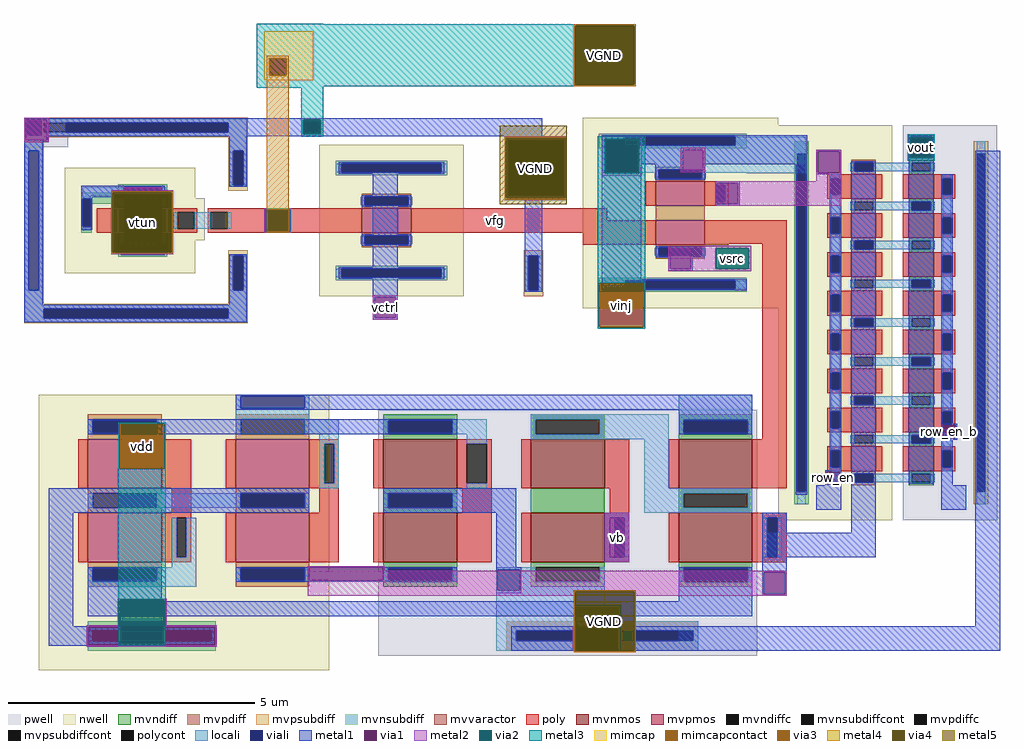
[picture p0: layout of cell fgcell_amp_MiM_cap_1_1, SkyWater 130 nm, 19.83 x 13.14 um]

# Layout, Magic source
magic
tech sky130A
magscale 1 2
<< poly >>
rect 2388 -2420 2488 -2320
<< polycont >>
rect 1524 -2400 1586 -2342
<< locali >>
rect 1502 -2331 1610 -2322
rect 1502 -2409 1516 -2331
rect 1594 -2409 1610 -2331
rect 1502 -2416 1610 -2409
<< viali >>
rect 1516 -2342 1594 -2331
rect 1516 -2400 1524 -2342
rect 1524 -2400 1586 -2342
rect 1586 -2400 1594 -2342
rect 1516 -2409 1594 -2400
<< metal1 >>
rect 2478 -2038 2730 -2028
rect 2478 -2278 2484 -2038
rect 2724 -2278 2730 -2038
rect 2478 -2284 2730 -2278
rect 1500 -2325 1610 -2320
rect 1500 -2415 1510 -2325
rect 1600 -2415 1610 -2325
rect 1500 -2420 1610 -2415
rect 4258 -3202 4316 -3196
rect 4310 -3254 4316 -3202
rect 4258 -3260 4316 -3254
rect 3780 -3390 3838 -3384
rect 3780 -3442 3786 -3390
rect 3780 -3446 3838 -3442
rect 780 -4020 1308 -4014
rect 780 -4096 786 -4020
rect 1302 -4096 1308 -4020
rect 780 -4102 1308 -4096
<< via1 >>
rect 1660 -2020 1730 -1960
rect 2484 -2278 2724 -2038
rect 2884 -2178 3024 -2038
rect 4126 -2118 4214 -2030
rect 1510 -2331 1600 -2325
rect 1510 -2409 1516 -2331
rect 1516 -2409 1594 -2331
rect 1594 -2409 1600 -2331
rect 1510 -2415 1600 -2409
rect 1950 -2766 2034 -2682
rect 4258 -3254 4310 -3202
rect 3786 -3442 3838 -3390
rect 786 -4096 1302 -4020
rect 2764 -4112 2944 -4024
<< metal2 >>
rect 1650 -1960 1740 -1954
rect 1650 -2020 1659 -1960
rect 1730 -2020 1740 -1960
rect 1650 -2028 1740 -2020
rect 2478 -2038 2730 -2028
rect 878 -2258 1130 -2248
rect 878 -2498 884 -2258
rect 1124 -2498 1130 -2258
rect 2478 -2278 2484 -2038
rect 2724 -2278 2730 -2038
rect 2874 -2038 3034 -2028
rect 2874 -2178 2884 -2038
rect 3024 -2178 3034 -2038
rect 4116 -2030 4224 -2020
rect 4116 -2118 4126 -2030
rect 4214 -2118 4224 -2030
rect 4116 -2128 4224 -2118
rect 2874 -2188 3034 -2178
rect 2478 -2288 2730 -2278
rect 1500 -2325 1610 -2320
rect 1500 -2415 1510 -2325
rect 1600 -2415 1610 -2325
rect 1500 -2420 1610 -2415
rect 878 -2508 1130 -2498
rect 3142 -2482 3480 -2472
rect 3142 -2566 3334 -2482
rect 3470 -2566 3480 -2482
rect 3142 -2576 3480 -2566
rect 2884 -3758 2984 -3558
rect 904 -3912 1104 -3906
rect 904 -4014 914 -3912
rect 780 -4020 914 -4014
rect 1094 -4014 1104 -3912
rect 1094 -4020 1308 -4014
rect 780 -4096 786 -4020
rect 1302 -4096 1308 -4020
rect 780 -4102 1308 -4096
rect 2754 -4024 2954 -4018
rect 2754 -4112 2764 -4024
rect 2944 -4112 2954 -4024
rect 2754 -4118 2954 -4112
<< via2 >>
rect 1659 -2020 1660 -1960
rect 1660 -2020 1730 -1960
rect 884 -2498 1124 -2258
rect 2484 -2278 2724 -2038
rect 2884 -2178 3024 -2038
rect 4126 -2118 4214 -2030
rect 1515 -2410 1595 -2330
rect 3334 -2566 3470 -2482
rect 914 -4020 1094 -3912
rect 914 -4092 1094 -4020
rect 2764 -4112 2944 -4024
<< metal3 >>
rect 1470 -1572 1740 -1570
rect 1470 -1578 3010 -1572
rect 1470 -1818 2764 -1578
rect 3004 -1818 3010 -1578
rect 1470 -1824 3010 -1818
rect 1470 -1830 1740 -1824
rect 1650 -1960 1740 -1830
rect 1650 -2020 1659 -1960
rect 1730 -2020 1740 -1960
rect 1650 -2030 1740 -2020
rect 2478 -2038 2730 -2032
rect 878 -2258 1130 -2252
rect 878 -2498 884 -2258
rect 1124 -2498 1130 -2258
rect 2478 -2278 2484 -2038
rect 2724 -2278 2730 -2038
rect 2478 -2284 2730 -2278
rect 2856 -2038 3048 -2028
rect 2856 -2178 2884 -2038
rect 3024 -2178 3048 -2038
rect 4116 -2030 4224 -2020
rect 4116 -2118 4126 -2030
rect 4214 -2118 4224 -2030
rect 4116 -2128 4224 -2118
rect 1510 -2326 1600 -2320
rect 1505 -2414 1511 -2326
rect 1599 -2414 1605 -2326
rect 1510 -2420 1600 -2414
rect 878 -2504 1130 -2498
rect 2856 -2624 3048 -2178
rect 2856 -2804 2862 -2624
rect 3042 -2804 3048 -2624
rect 2856 -2810 3048 -2804
rect 908 -3198 1100 -3192
rect 908 -3378 914 -3198
rect 1094 -3378 1100 -3198
rect 908 -3912 1100 -3378
rect 908 -4092 914 -3912
rect 1094 -4092 1100 -3912
rect 908 -4098 1100 -4092
rect 2758 -3938 2950 -3932
rect 2758 -4118 2764 -3938
rect 2944 -4118 2950 -3938
rect 2758 -4124 2950 -4118
<< via3 >>
rect 2764 -1818 3004 -1578
rect 884 -2498 1124 -2258
rect 2484 -2278 2724 -2038
rect 1511 -2330 1599 -2326
rect 1511 -2410 1515 -2330
rect 1515 -2410 1595 -2330
rect 1595 -2410 1599 -2330
rect 1511 -2414 1599 -2410
rect 2862 -2804 3042 -2624
rect 914 -3378 1094 -3198
rect 2764 -4024 2944 -3938
rect 2764 -4112 2944 -4024
rect 2764 -4118 2944 -4112
<< mimcap >>
rect 1500 -1710 1700 -1600
rect 1500 -1780 1520 -1710
rect 1590 -1780 1700 -1710
rect 1500 -1800 1700 -1780
<< mimcapcontact >>
rect 1520 -1780 1590 -1710
<< metal4 >>
rect 2758 -1578 3010 -1572
rect 1510 -1710 1600 -1700
rect 1510 -1780 1520 -1710
rect 1590 -1780 1600 -1710
rect 878 -2258 1130 -2252
rect 878 -2498 884 -2258
rect 1124 -2498 1130 -2258
rect 1510 -2326 1600 -1780
rect 2758 -1818 2764 -1578
rect 3004 -1818 3010 -1578
rect 2758 -1824 3010 -1818
rect 2478 -2038 2730 -2032
rect 2478 -2278 2484 -2038
rect 2724 -2278 2730 -2038
rect 2478 -2284 2730 -2278
rect 1510 -2414 1511 -2326
rect 1599 -2414 1600 -2326
rect 1510 -2420 1600 -2414
rect 878 -2504 1130 -2498
rect 2758 -3878 3010 -3872
rect 2758 -4118 2764 -3878
rect 3004 -4118 3010 -3878
rect 2758 -4124 3010 -4118
<< via4 >>
rect 884 -2498 1124 -2258
rect 2764 -1818 3004 -1578
rect 2484 -2278 2724 -2038
rect 2764 -3938 3004 -3878
rect 2764 -4118 2944 -3938
rect 2944 -4118 3004 -3938
<< metal5 >>
rect 2458 -2038 2730 -1984
rect 2458 -2278 2484 -2038
rect 2724 -2278 2730 -2038
rect 2458 -2304 2730 -2278
use fgcell_amp  x1
transform 1 0 384 0 1 3012
box 140 -7210 4106 -4964
<< labels >>
flabel poly 2388 -2420 2488 -2320 0 FreeSans 320 0 0 0 vfg
port 1 nsew analog bidirectional
flabel via1 1950 -2766 2034 -2682 0 FreeSans 320 0 0 0 vctrl
port 2 nsew analog input
flabel via3 914 -3378 1094 -3198 0 FreeSans 320 0 0 0 vdd
port 3 nsew power input
flabel via3 2862 -2804 3042 -2624 0 FreeSans 320 0 0 0 vinj
port 3 nsew power input
flabel via1 4258 -3254 4310 -3202 0 FreeSans 160 0 0 0 row_en_b
port 4 nsew signal input
flabel via2 3334 -2566 3470 -2482 0 FreeSans 320 0 0 0 vsrc
port 5 nsew power input
flabel via4 884 -2498 1124 -2258 0 FreeSans 480 0 0 0 vtun
port 6 nsew power input
flabel via4 2764 -4118 3004 -3878 0 FreeSans 320 0 0 0 VGND
port 7 nsew ground input
flabel via4 2484 -2278 2724 -2038 0 FreeSans 320 0 0 0 VGND
port 7 nsew ground input
flabel via4 2764 -1818 3004 -1578 0 FreeSans 320 0 0 0 VGND
port 7 nsew ground input
flabel metal3 4116 -2128 4224 -2020 0 FreeSans 320 0 0 0 vout
port 8 nsew analog output
flabel via1 3786 -3442 3838 -3390 0 FreeSans 160 0 0 0 row_en
port 9 nsew signal input
flabel metal2 2884 -3758 2984 -3558 0 FreeSans 480 90 0 0 vb
port 10 nsew analog input
<< end >>

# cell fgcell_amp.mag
magic
tech sky130A
magscale 1 2
<< poly >>
rect 2004 -5432 2104 -5332
rect 2907 -5477 3240 -5380
rect 3140 -6470 3240 -5477
<< locali >>
rect 3076 -5154 3316 -5042
rect 3076 -5190 3282 -5154
<< metal1 >>
rect 3076 -5154 3322 -5036
rect 3276 -5190 3322 -5154
rect 3360 -5100 3460 -5094
rect 3360 -5188 3366 -5100
rect 3454 -5188 3460 -5100
rect 3736 -5136 3836 -5036
rect 3360 -5194 3460 -5188
rect 240 -6570 340 -6470
rect 3502 -6650 3602 -6458
rect 3868 -6558 3968 -6458
rect 3160 -6750 3602 -6650
rect 3140 -6812 3240 -6770
rect 3140 -6900 3146 -6812
rect 3234 -6900 3240 -6812
rect 3140 -6906 3240 -6900
rect 4006 -7030 4106 -5098
rect 2800 -7130 4106 -7030
<< via1 >>
rect 3366 -5188 3454 -5100
rect 3146 -6900 3234 -6812
<< metal2 >>
rect 140 -5062 240 -4964
rect 2808 -5186 2908 -5086
rect 3360 -5100 3460 -5094
rect 3360 -5188 3366 -5100
rect 3454 -5188 3460 -5100
rect 3360 -5222 3460 -5188
rect 548 -5518 698 -5246
rect 2948 -5322 3460 -5222
rect 2758 -5586 2858 -5486
rect 1558 -5786 1658 -5686
rect 2500 -6770 2600 -6570
rect 1294 -6812 3240 -6806
rect 1294 -6900 3146 -6812
rect 3234 -6900 3240 -6812
rect 1294 -6906 3240 -6900
use tg5v0  tg5v0_0
transform 0 -1 4094 1 0 -6628
box 28 0 1634 890
use fgcell  x1
transform 1 0 2010 0 1 -5490
box -1870 -310 1194 526
use diffamp_nmos  x2
transform 0 -1 3100 -1 0 -6070
box 20 -140 1140 2900
<< labels >>
flabel poly 2004 -5432 2104 -5332 0 FreeSans 320 0 0 0 vfg
port 1 nsew analog bidirectional
flabel metal2 1558 -5786 1658 -5686 0 FreeSans 480 0 0 0 vctrl
port 2 nsew analog input
flabel metal2 548 -5518 698 -5246 0 FreeSans 480 0 0 0 vtun
port 6 nsew power input
flabel metal2 140 -5062 240 -4964 0 FreeSans 480 0 0 0 VGND
port 7 nsew ground input
flabel metal2 2808 -5186 2908 -5086 0 FreeSans 480 0 0 0 vinj
port 3 nsew power input
flabel metal2 2948 -5322 3048 -5222 0 FreeSans 480 0 0 0 row_en_6v0_b
port 4 nsew signal input
flabel metal2 2758 -5586 2858 -5486 0 FreeSans 480 0 0 0 vsrc
port 5 nsew power input
flabel metal2 2500 -6770 2600 -6570 0 FreeSans 480 90 0 0 vb
port 10 nsew analog input
flabel metal1 3868 -6558 3968 -6458 0 FreeSans 480 0 0 0 row_en_6v0
port 9 nsew signal input
flabel metal1 3736 -5136 3836 -5036 0 FreeSans 480 0 0 0 vout
port 8 nsew analog output
flabel metal1 2800 -7130 2900 -7030 0 FreeSans 480 0 0 0 VGND
port 7 nsew ground input
flabel metal1 240 -6570 340 -6470 0 FreeSans 480 0 0 0 vinj
port 3 nsew power input
<< end >>

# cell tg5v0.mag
magic
tech sky130A
<< nwell >>
rect 14 213 817 445
<< pwell >>
rect 14 0 817 192
<< mvnmos >>
rect 114 129 164 179
rect 193 129 243 179
rect 272 129 322 179
rect 351 129 401 179
rect 430 129 480 179
rect 509 129 559 179
rect 588 129 638 179
rect 667 129 717 179
<< mvpmos >>
rect 114 246 164 296
rect 193 246 243 296
rect 272 246 322 296
rect 351 246 401 296
rect 430 246 480 296
rect 509 246 559 296
rect 588 246 638 296
rect 667 246 717 296
<< mvndiff >>
rect 85 173 114 179
rect 85 135 91 173
rect 108 135 114 173
rect 85 129 114 135
rect 164 173 193 179
rect 164 135 170 173
rect 187 135 193 173
rect 164 129 193 135
rect 243 173 272 179
rect 243 135 249 173
rect 266 135 272 173
rect 243 129 272 135
rect 322 173 351 179
rect 322 135 328 173
rect 345 135 351 173
rect 322 129 351 135
rect 401 173 430 179
rect 401 135 407 173
rect 424 135 430 173
rect 401 129 430 135
rect 480 173 509 179
rect 480 135 486 173
rect 503 135 509 173
rect 480 129 509 135
rect 559 173 588 179
rect 559 135 565 173
rect 582 135 588 173
rect 559 129 588 135
rect 638 173 667 179
rect 638 135 644 173
rect 661 135 667 173
rect 638 129 667 135
rect 717 173 746 179
rect 717 135 723 173
rect 740 135 746 173
rect 717 129 746 135
<< mvpdiff >>
rect 85 290 114 296
rect 85 252 91 290
rect 108 252 114 290
rect 85 246 114 252
rect 164 290 193 296
rect 164 252 170 290
rect 187 252 193 290
rect 164 246 193 252
rect 243 290 272 296
rect 243 252 249 290
rect 266 252 272 290
rect 243 246 272 252
rect 322 290 351 296
rect 322 252 328 290
rect 345 252 351 290
rect 322 246 351 252
rect 401 290 430 296
rect 401 252 407 290
rect 424 252 430 290
rect 401 246 430 252
rect 480 290 509 296
rect 480 252 486 290
rect 503 252 509 290
rect 480 246 509 252
rect 559 290 588 296
rect 559 252 565 290
rect 582 252 588 290
rect 559 246 588 252
rect 638 290 667 296
rect 638 252 644 290
rect 661 252 667 290
rect 638 246 667 252
rect 717 290 746 296
rect 717 252 723 290
rect 740 252 746 290
rect 717 246 746 252
<< mvndiffc >>
rect 91 135 108 173
rect 170 135 187 173
rect 249 135 266 173
rect 328 135 345 173
rect 407 135 424 173
rect 486 135 503 173
rect 565 135 582 173
rect 644 135 661 173
rect 723 135 740 173
<< mvpdiffc >>
rect 91 252 108 290
rect 170 252 187 290
rect 249 252 266 290
rect 328 252 345 290
rect 407 252 424 290
rect 486 252 503 290
rect 565 252 582 290
rect 644 252 661 290
rect 723 252 740 290
<< mvpsubdiff >>
rect 47 41 784 47
rect 47 24 72 41
rect 759 24 784 41
rect 47 18 784 24
<< mvnsubdiff >>
rect 47 406 784 412
rect 47 389 72 406
rect 759 389 784 406
rect 47 383 784 389
<< mvpsubdiffcont >>
rect 72 24 759 41
<< mvnsubdiffcont >>
rect 72 389 759 406
<< poly >>
rect 114 337 164 345
rect 114 320 122 337
rect 156 320 164 337
rect 114 296 164 320
rect 193 337 243 345
rect 193 320 201 337
rect 235 320 243 337
rect 193 296 243 320
rect 272 337 322 345
rect 272 320 280 337
rect 314 320 322 337
rect 272 296 322 320
rect 351 337 401 345
rect 351 320 359 337
rect 393 320 401 337
rect 351 296 401 320
rect 430 337 480 345
rect 430 320 438 337
rect 472 320 480 337
rect 430 296 480 320
rect 509 337 559 345
rect 509 320 517 337
rect 551 320 559 337
rect 509 296 559 320
rect 588 337 638 345
rect 588 320 596 337
rect 630 320 638 337
rect 588 296 638 320
rect 667 337 717 345
rect 667 320 675 337
rect 709 320 717 337
rect 667 296 717 320
rect 114 233 164 246
rect 193 233 243 246
rect 272 233 322 246
rect 351 233 401 246
rect 430 233 480 246
rect 509 233 559 246
rect 588 233 638 246
rect 667 233 717 246
rect 114 179 164 192
rect 193 179 243 192
rect 272 179 322 192
rect 351 179 401 192
rect 430 179 480 192
rect 509 179 559 192
rect 588 179 638 192
rect 667 179 717 192
rect 114 110 164 129
rect 114 93 122 110
rect 156 93 164 110
rect 114 85 164 93
rect 193 110 243 129
rect 193 93 201 110
rect 235 93 243 110
rect 193 85 243 93
rect 272 110 322 129
rect 272 93 280 110
rect 314 93 322 110
rect 272 85 322 93
rect 351 110 401 129
rect 351 93 359 110
rect 393 93 401 110
rect 351 85 401 93
rect 430 110 480 129
rect 430 93 438 110
rect 472 93 480 110
rect 430 85 480 93
rect 509 110 559 129
rect 509 93 517 110
rect 551 93 559 110
rect 509 85 559 93
rect 588 110 638 129
rect 588 93 596 110
rect 630 93 638 110
rect 588 85 638 93
rect 667 110 717 129
rect 667 93 675 110
rect 709 93 717 110
rect 667 85 717 93
<< polycont >>
rect 122 320 156 337
rect 201 320 235 337
rect 280 320 314 337
rect 359 320 393 337
rect 438 320 472 337
rect 517 320 551 337
rect 596 320 630 337
rect 675 320 709 337
rect 122 93 156 110
rect 201 93 235 110
rect 280 93 314 110
rect 359 93 393 110
rect 438 93 472 110
rect 517 93 551 110
rect 596 93 630 110
rect 675 93 709 110
<< locali >>
rect 47 389 72 406
rect 759 389 784 406
rect 114 320 122 337
rect 156 320 201 337
rect 235 320 280 337
rect 314 320 359 337
rect 393 320 438 337
rect 472 320 517 337
rect 551 320 596 337
rect 630 320 675 337
rect 709 320 717 337
rect 91 290 108 298
rect 91 173 108 252
rect 91 127 108 135
rect 170 290 187 298
rect 170 173 187 252
rect 170 127 187 135
rect 249 290 266 298
rect 249 173 266 252
rect 249 127 266 135
rect 328 290 345 298
rect 328 173 345 252
rect 328 127 345 135
rect 407 290 424 298
rect 407 173 424 252
rect 407 127 424 135
rect 486 290 503 298
rect 486 173 503 252
rect 486 127 503 135
rect 565 290 582 298
rect 565 173 582 252
rect 565 127 582 135
rect 644 290 661 298
rect 644 173 661 252
rect 644 127 661 135
rect 723 290 740 298
rect 723 173 740 252
rect 723 127 740 135
rect 114 93 122 110
rect 156 93 201 110
rect 235 93 280 110
rect 314 93 359 110
rect 393 93 438 110
rect 472 93 517 110
rect 551 93 596 110
rect 630 93 675 110
rect 709 93 717 110
rect 47 24 72 41
rect 759 24 784 41
<< viali >>
rect 72 389 759 406
rect 122 320 156 337
rect 201 320 235 337
rect 280 320 314 337
rect 359 320 393 337
rect 438 320 472 337
rect 517 320 551 337
rect 596 320 630 337
rect 675 320 709 337
rect 91 252 108 290
rect 170 135 187 173
rect 249 252 266 290
rect 328 135 345 173
rect 407 252 424 290
rect 486 135 503 173
rect 565 252 582 290
rect 644 135 661 173
rect 723 252 740 290
rect 122 93 156 110
rect 201 93 235 110
rect 280 93 314 110
rect 359 93 393 110
rect 438 93 472 110
rect 517 93 551 110
rect 596 93 630 110
rect 675 93 709 110
rect 72 24 759 41
<< metal1 >>
rect 66 406 765 409
rect 66 389 72 406
rect 759 389 765 406
rect 66 386 765 389
rect 35 340 85 367
rect 35 337 717 340
rect 35 320 122 337
rect 156 320 201 337
rect 235 320 280 337
rect 314 320 359 337
rect 393 320 438 337
rect 472 320 517 337
rect 551 320 596 337
rect 630 320 675 337
rect 709 320 717 337
rect 35 317 717 320
rect 35 290 743 296
rect 35 252 91 290
rect 108 252 249 290
rect 266 252 407 290
rect 424 252 565 290
rect 582 252 723 290
rect 740 252 743 290
rect 35 246 743 252
rect 88 173 796 179
rect 88 135 170 173
rect 187 135 328 173
rect 345 135 486 173
rect 503 135 644 173
rect 661 135 796 173
rect 88 129 796 135
rect 35 110 717 113
rect 35 93 122 110
rect 156 93 201 110
rect 235 93 280 110
rect 314 93 359 110
rect 393 93 438 110
rect 472 93 517 110
rect 551 93 596 110
rect 630 93 675 110
rect 709 93 717 110
rect 35 90 717 93
rect 35 63 85 90
rect 66 41 765 44
rect 66 24 72 41
rect 759 24 765 41
rect 66 21 765 24
<< labels >>
flabel metal1 35 246 85 296 0 FreeSans 160 0 0 0 vin
port 1 nsew
flabel metal1 746 129 796 179 0 FreeSans 160 0 0 0 vout
port 2 nsew
flabel metal1 35 317 85 367 0 FreeSans 160 0 0 0 en_b
port 4 nsew
flabel metal1 35 63 85 113 0 FreeSans 160 0 0 0 en
port 3 nsew
flabel metal1 66 386 89 409 0 FreeSans 160 0 0 0 vdd
port 5 nsew
flabel metal1 66 21 89 44 0 FreeSans 160 0 0 0 vss
port 6 nsew
<< end >>

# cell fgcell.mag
magic
tech sky130A
magscale 1 2
<< nwell >>
rect -1704 198 -1174 322
rect -1704 28 -1136 198
rect -1704 -106 -1174 28
rect -670 -200 -84 416
rect 400 -248 1194 526
<< pwell >>
rect -1870 406 -1690 526
<< mvpmos >>
rect 697 168 897 268
rect -497 58 -297 158
rect 697 10 897 110
<< mvvaractor >>
rect -1487 58 -1287 158
<< mvpdiff >>
rect 697 314 897 326
rect 697 280 709 314
rect 885 280 897 314
rect 697 268 897 280
rect -497 204 -297 216
rect -497 170 -485 204
rect -309 170 -297 204
rect -497 158 -297 170
rect 697 110 897 168
rect -497 46 -297 58
rect -497 12 -485 46
rect -309 12 -297 46
rect -497 0 -297 12
rect 697 -2 897 10
rect 697 -36 709 -2
rect 885 -36 897 -2
rect 697 -48 897 -36
<< mvpdiffc >>
rect 709 280 885 314
rect -485 170 -309 204
rect -485 12 -309 46
rect 709 -36 885 -2
<< mvpsubdiff >>
rect -1870 506 -960 526
rect -1870 466 -1790 506
rect -1040 466 -960 506
rect -1870 446 -960 466
rect -1870 -230 -1790 446
rect -1040 392 -960 446
rect -1040 252 -1020 392
rect -980 252 -960 392
rect 160 392 240 416
rect -1040 228 -960 252
rect 160 252 180 392
rect 220 252 240 392
rect 160 228 240 252
rect -1040 -36 -960 -12
rect -1040 -176 -1020 -36
rect -980 -176 -960 -36
rect 160 -36 240 -12
rect -1040 -230 -960 -176
rect 160 -176 180 -36
rect 220 -176 240 -36
rect 160 -200 240 -176
rect -1870 -250 -960 -230
rect -1870 -290 -1790 -250
rect -1040 -290 -960 -250
rect -1870 -310 -960 -290
<< mvnsubdiff >>
rect 466 448 1066 460
rect -1487 243 -1287 255
rect -1487 220 -1463 243
rect -1638 209 -1463 220
rect -1311 209 -1287 243
rect 466 414 574 448
rect 1020 414 1066 448
rect 466 402 1066 414
rect -604 338 -150 350
rect -604 304 -580 338
rect -174 304 -150 338
rect -604 292 -150 304
rect -1638 196 -1287 209
rect -1638 82 -1632 196
rect -1598 176 -1287 196
rect -1598 82 -1594 176
rect -1487 158 -1287 176
rect -1638 58 -1594 82
rect -1487 7 -1287 58
rect -1487 -27 -1463 7
rect -1311 -27 -1287 7
rect -1487 -39 -1287 -27
rect -604 -88 -150 -76
rect -604 -122 -580 -88
rect -174 -122 -150 -88
rect -604 -134 -150 -122
rect 466 -136 1066 -124
rect 466 -170 574 -136
rect 1020 -170 1066 -136
rect 466 -182 1066 -170
<< mvpsubdiffcont >>
rect -1790 466 -1040 506
rect -1020 252 -980 392
rect 180 252 220 392
rect -1020 -176 -980 -36
rect 180 -176 220 -36
rect -1790 -290 -1040 -250
<< mvnsubdiffcont >>
rect -1463 209 -1311 243
rect 574 414 1020 448
rect -580 304 -174 338
rect -1632 82 -1598 196
rect -1463 -27 -1311 7
rect -580 -122 -174 -88
rect 574 -170 1020 -136
<< poly >>
rect 656 168 697 268
rect 897 252 994 268
rect 897 184 944 252
rect 978 184 994 252
rect 897 168 994 184
rect -1575 58 -1487 158
rect -1287 142 -1166 158
rect -1287 74 -1248 142
rect -1176 74 -1166 142
rect -1287 58 -1166 74
rect -1124 142 -497 158
rect -1124 74 -1114 142
rect -1042 74 -497 142
rect -1124 58 -497 74
rect -297 110 500 158
rect -297 58 697 110
rect 400 10 697 58
rect 897 10 994 110
<< polycont >>
rect 944 184 978 252
rect -1248 74 -1176 142
rect -1114 74 -1042 142
<< locali >>
rect -1866 512 -964 522
rect -1866 454 -1856 512
rect -1798 506 -964 512
rect -1798 466 -1790 506
rect -1040 466 -964 506
rect -1798 454 -964 466
rect -1866 450 -964 454
rect -1866 392 -1794 450
rect -1866 -176 -1850 392
rect -1810 -176 -1794 392
rect -1036 392 -964 450
rect 478 414 574 448
rect 1020 414 1066 448
rect -1036 252 -1020 392
rect -980 252 -964 392
rect -604 304 -580 338
rect -174 304 -150 338
rect 164 252 180 392
rect 220 252 236 392
rect 478 314 1066 414
rect 478 302 709 314
rect 693 280 709 302
rect 885 302 1066 314
rect 885 280 901 302
rect 944 252 978 268
rect -1632 243 -1294 244
rect -1632 209 -1463 243
rect -1311 209 -1294 243
rect -1632 208 -1294 209
rect -1632 196 -1598 208
rect -501 170 -485 204
rect -309 170 -293 204
rect 944 168 978 184
rect -1632 66 -1598 82
rect -1264 74 -1248 142
rect -1176 74 -1114 142
rect -1042 74 -1026 142
rect -501 12 -485 46
rect -309 12 -293 46
rect -1479 -27 -1463 7
rect -1311 -27 -1295 7
rect 693 -36 709 -2
rect 885 -36 901 -2
rect -1866 -234 -1794 -176
rect -1036 -176 -1020 -36
rect -980 -176 -964 -36
rect -604 -122 -580 -88
rect -174 -122 -150 -88
rect 164 -176 180 -36
rect 220 -176 236 -36
rect 478 -170 574 -136
rect 1020 -170 1066 -136
rect -1036 -234 -964 -176
rect -1866 -250 -964 -234
rect -1866 -290 -1790 -250
rect -1040 -290 -964 -250
rect -1866 -306 -964 -290
<< viali >>
rect -1856 454 -1798 512
rect -1700 466 -1040 506
rect -1850 -176 -1810 392
rect 574 414 1020 448
rect -1020 252 -980 392
rect -580 304 -174 338
rect 180 252 220 392
rect 709 280 885 314
rect -1463 209 -1311 243
rect -1632 82 -1598 196
rect -485 170 -309 204
rect 944 184 978 252
rect -485 12 -309 46
rect -1463 -27 -1311 7
rect 709 -36 885 -2
rect -1020 -176 -980 -36
rect -580 -122 -174 -88
rect 180 -176 220 -36
rect 574 -170 1020 -136
rect -1790 -290 -1040 -250
<< metal1 >>
rect -1868 518 236 524
rect -1868 434 -1862 518
rect -1778 506 236 518
rect -1778 466 -1700 506
rect -1040 466 236 506
rect -1778 450 236 466
rect -1778 434 -1772 450
rect -1868 428 -1772 434
rect -1868 392 -1794 428
rect -1868 -176 -1850 392
rect -1810 -176 -1794 392
rect -1036 392 -964 450
rect -1036 252 -1020 392
rect -980 252 -964 392
rect 164 392 236 450
rect -592 338 -162 344
rect -592 304 -580 338
rect -174 304 -162 338
rect -592 298 -162 304
rect -1638 244 -1298 250
rect -1036 246 -964 252
rect -1638 243 -1456 244
rect -1318 243 -1298 244
rect -1638 209 -1463 243
rect -1311 209 -1298 243
rect -452 210 -352 298
rect 164 252 180 392
rect 220 252 236 392
rect -1638 202 -1456 209
rect -1638 196 -1592 202
rect -1638 82 -1632 196
rect -1598 82 -1592 196
rect -1638 70 -1592 82
rect -1463 192 -1456 202
rect -1318 202 -1298 209
rect -497 204 -297 210
rect -1318 192 -1311 202
rect -1463 24 -1311 192
rect -497 170 -485 204
rect -309 170 -297 204
rect -497 164 -297 170
rect -452 52 -352 164
rect -1463 13 -1456 24
rect -1475 7 -1456 13
rect -1318 13 -1311 24
rect -497 46 -297 52
rect -1318 7 -1299 13
rect -1475 -27 -1463 7
rect -1311 -27 -1299 7
rect -497 12 -485 46
rect -309 12 -297 46
rect -497 6 -297 12
rect -1475 -28 -1456 -27
rect -1318 -28 -1299 -27
rect -1475 -33 -1299 -28
rect -1868 -234 -1794 -176
rect -1036 -36 -964 -30
rect -1036 -176 -1020 -36
rect -980 -176 -964 -36
rect -452 -82 -352 6
rect 164 -36 236 252
rect -592 -88 -162 -82
rect -592 -122 -580 -88
rect -174 -122 -162 -88
rect -592 -128 -162 -122
rect -1036 -234 -964 -176
rect -1868 -250 -964 -234
rect -1868 -290 -1790 -250
rect -1040 -290 -964 -250
rect -1868 -306 -964 -290
rect -452 -204 -352 -128
rect 164 -176 180 -36
rect 220 -176 236 -36
rect 478 448 1066 454
rect 478 414 574 448
rect 1020 414 1066 448
rect 478 396 1066 414
rect 478 336 806 396
rect 478 -130 638 336
rect 696 314 806 336
rect 890 336 1066 396
rect 696 280 709 314
rect 890 312 898 336
rect 885 280 898 312
rect 696 274 898 280
rect 938 260 1038 268
rect 938 252 946 260
rect 938 184 944 252
rect 938 176 946 184
rect 1030 176 1038 260
rect 938 168 1038 176
rect 697 -2 897 4
rect 697 -36 709 -2
rect 885 -36 897 -2
rect 697 -42 756 -36
rect 748 -88 756 -42
rect 840 -42 897 -36
rect 840 -88 848 -42
rect 748 -96 848 -88
rect 478 -136 1066 -130
rect 478 -170 574 -136
rect 1020 -170 1066 -136
rect 478 -176 1066 -170
rect 164 -182 236 -176
rect -452 -288 -444 -204
rect -360 -288 -352 -204
rect -452 -296 -352 -288
<< via1 >>
rect -1862 512 -1778 518
rect -1862 454 -1856 512
rect -1856 454 -1798 512
rect -1798 454 -1778 512
rect -1862 434 -1778 454
rect -1456 243 -1318 244
rect -1456 209 -1318 243
rect -1456 192 -1318 209
rect -1456 7 -1318 24
rect -1456 -27 -1318 7
rect -1456 -28 -1318 -27
rect 806 314 890 396
rect 806 312 885 314
rect 885 312 890 314
rect 946 252 1030 260
rect 946 184 978 252
rect 978 184 1030 252
rect 946 176 1030 184
rect 756 -36 840 -4
rect 756 -88 840 -36
rect -444 -288 -360 -204
<< metal2 >>
rect -1870 518 -1770 526
rect -1870 434 -1862 518
rect -1778 434 -1770 518
rect -1870 426 -1770 434
rect 798 396 898 404
rect 798 312 806 396
rect 890 312 898 396
rect 798 304 898 312
rect 938 260 1038 268
rect -1462 192 -1456 244
rect -1318 192 -1312 244
rect -1462 24 -1312 192
rect 938 176 946 260
rect 1030 176 1038 260
rect 938 168 1038 176
rect -1462 -28 -1456 24
rect -1318 -28 -1312 24
rect 748 -4 848 4
rect 748 -88 756 -4
rect 840 -88 848 -4
rect 748 -96 848 -88
rect -452 -204 -352 -196
rect -452 -288 -444 -204
rect -360 -288 -352 -204
rect -452 -296 -352 -288
<< labels >>
flabel poly -1104 58 -1054 158 0 FreeSans 480 0 0 0 fg
flabel metal2 -452 -296 -352 -196 0 FreeSans 480 0 0 0 vctrl
port 3 nsew analog input
flabel metal2 748 -96 848 4 0 FreeSans 480 0 0 0 vsrc
port 4 nsew signal input
flabel metal2 798 304 898 404 0 FreeSans 480 0 0 0 vinj
port 0 nsew power default
flabel poly -6 58 94 158 0 FreeSans 320 0 0 0 vfg
port 6 nsew
flabel metal2 -1870 426 -1770 526 0 FreeSans 480 0 0 0 VGND
port 5 nsew ground default
flabel metal2 -1462 -28 -1312 244 0 FreeSans 480 0 0 0 vtun
port 2 nsew analog input
flabel metal2 938 168 1038 268 0 FreeSans 480 180 0 0 vinj_en_b
port 1 nsew signal input
<< properties >>
string FIXED_BBOX -2010 -510 1394 726
<< end >>

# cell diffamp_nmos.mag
magic
tech sky130A
<< nwell >>
rect 10 860 570 1450
<< pwell >>
rect 40 -10 540 760
<< mvnmos >>
rect 100 600 200 750
rect 250 600 350 750
rect 100 300 200 450
rect 250 300 350 450
rect 100 0 200 150
rect 250 0 350 150
<< mvpmos >>
rect 100 1200 200 1350
rect 250 1200 350 1350
rect 100 900 200 1050
rect 250 900 350 1050
<< mvndiff >>
rect 50 740 100 750
rect 50 610 60 740
rect 90 610 100 740
rect 50 600 100 610
rect 200 740 250 750
rect 200 610 210 740
rect 240 610 250 740
rect 200 600 250 610
rect 350 740 400 750
rect 350 610 360 740
rect 390 610 400 740
rect 350 600 400 610
rect 50 440 100 450
rect 50 310 60 440
rect 90 310 100 440
rect 50 300 100 310
rect 200 300 250 450
rect 350 440 400 450
rect 350 310 360 440
rect 390 310 400 440
rect 350 300 400 310
rect 50 140 100 150
rect 50 10 60 140
rect 90 10 100 140
rect 50 0 100 10
rect 200 140 250 150
rect 200 10 210 140
rect 240 10 250 140
rect 200 0 250 10
rect 350 140 400 150
rect 350 10 360 140
rect 390 10 400 140
rect 350 0 400 10
<< mvpdiff >>
rect 50 1340 100 1350
rect 50 1210 60 1340
rect 90 1210 100 1340
rect 50 1200 100 1210
rect 200 1340 250 1350
rect 200 1210 210 1340
rect 240 1210 250 1340
rect 200 1200 250 1210
rect 350 1340 400 1350
rect 350 1210 360 1340
rect 390 1210 400 1340
rect 350 1200 400 1210
rect 50 1040 100 1050
rect 50 910 60 1040
rect 90 910 100 1040
rect 50 900 100 910
rect 200 1040 250 1050
rect 200 910 210 1040
rect 240 910 250 1040
rect 200 900 250 910
rect 350 1040 400 1050
rect 350 910 360 1040
rect 390 910 400 1040
rect 350 900 400 910
<< mvndiffc >>
rect 60 610 90 740
rect 210 610 240 740
rect 360 610 390 740
rect 60 310 90 440
rect 360 310 390 440
rect 60 10 90 140
rect 210 10 240 140
rect 360 10 390 140
<< mvpdiffc >>
rect 60 1210 90 1340
rect 210 1210 240 1340
rect 360 1210 390 1340
rect 60 910 90 1040
rect 210 910 240 1040
rect 360 910 390 1040
<< mvpsubdiff >>
rect 470 480 530 500
rect 470 120 490 480
rect 510 120 530 480
rect 470 110 530 120
<< mvnsubdiff >>
rect 470 1340 530 1350
rect 470 1100 490 1340
rect 510 1100 530 1340
rect 470 1090 530 1100
<< mvpsubdiffcont >>
rect 490 120 510 480
<< mvnsubdiffcont >>
rect 490 1100 510 1340
<< poly >>
rect 100 1350 200 1370
rect 250 1350 350 1370
rect 100 1180 200 1200
rect 250 1180 350 1200
rect 100 1170 350 1180
rect 100 1150 260 1170
rect 340 1150 350 1170
rect 100 1140 350 1150
rect 100 1050 200 1070
rect 250 1050 350 1070
rect 100 880 200 900
rect 250 880 350 900
rect 100 870 350 880
rect 100 850 110 870
rect 190 850 350 870
rect 100 840 350 850
rect 100 750 200 770
rect 250 750 350 770
rect 100 590 200 600
rect 250 590 350 600
rect 100 580 350 590
rect 100 540 110 580
rect 190 540 350 580
rect 100 530 350 540
rect 100 450 200 470
rect 250 450 350 470
rect 100 290 200 300
rect 250 290 350 300
rect 100 280 350 290
rect 100 260 260 280
rect 340 260 350 280
rect 100 250 350 260
rect 100 150 200 170
rect 250 150 350 170
rect 100 -70 200 0
rect 250 -30 350 0
rect 250 -50 260 -30
rect 340 -50 350 -30
rect 250 -70 350 -50
<< polycont >>
rect 260 1150 340 1170
rect 110 850 190 870
rect 110 540 190 580
rect 260 260 340 280
rect 260 -50 340 -30
<< locali >>
rect 60 1340 90 1350
rect 60 1200 90 1210
rect 210 1340 240 1350
rect 10 1040 90 1050
rect 10 910 13 1040
rect 37 910 60 1040
rect 10 900 90 910
rect 210 1040 240 1210
rect 360 1340 400 1350
rect 390 1210 400 1340
rect 360 1180 400 1210
rect 260 1170 400 1180
rect 340 1150 400 1170
rect 260 1130 400 1150
rect 490 1340 510 1350
rect 490 1090 510 1100
rect 210 900 240 910
rect 360 1040 390 1050
rect 360 900 390 910
rect 60 880 90 900
rect 60 870 200 880
rect 60 850 110 870
rect 190 850 200 870
rect 60 840 200 850
rect 60 740 90 750
rect 60 580 90 610
rect 210 740 240 750
rect 210 600 240 610
rect 360 740 390 750
rect 360 600 390 610
rect 60 540 110 580
rect 190 540 200 580
rect 360 517 530 520
rect 360 473 366 517
rect 407 480 530 517
rect 407 473 490 480
rect 50 440 100 450
rect 50 310 60 440
rect 90 310 100 440
rect 50 220 100 310
rect 360 440 490 473
rect 390 310 490 440
rect 360 300 490 310
rect 260 280 340 290
rect 260 250 340 260
rect 50 170 250 220
rect 10 140 90 150
rect 10 10 60 140
rect 10 0 90 10
rect 200 140 250 170
rect 200 10 210 140
rect 240 10 250 140
rect 200 0 250 10
rect 360 140 390 150
rect 470 120 490 300
rect 510 120 530 480
rect 470 110 530 120
rect 360 0 390 10
rect 260 -30 340 -20
rect 260 -60 340 -50
<< viali >>
rect 63 1210 87 1340
rect 13 910 37 1040
rect 363 1210 387 1340
rect 490 1100 510 1340
rect 210 910 240 1040
rect 363 910 387 1040
rect 63 610 87 740
rect 210 610 240 740
rect 363 610 387 740
rect 366 473 407 517
rect 260 260 340 280
rect 63 10 87 140
rect 363 10 387 140
rect 490 120 510 480
rect 260 -50 340 -30
<< metal1 >>
rect 200 1380 520 1430
rect 60 1340 90 1350
rect 60 1210 63 1340
rect 87 1210 90 1340
rect 10 1040 40 1050
rect 10 910 13 1040
rect 37 910 40 1040
rect 10 150 40 910
rect 60 740 90 1210
rect 200 1040 250 1380
rect 360 1340 460 1350
rect 360 1210 363 1340
rect 387 1210 460 1340
rect 360 1200 460 1210
rect 200 910 210 1040
rect 240 910 250 1040
rect 200 900 250 910
rect 360 1040 390 1050
rect 360 910 363 1040
rect 387 910 390 1040
rect 360 900 390 910
rect 360 750 361 900
rect 387 750 390 900
rect 60 610 63 740
rect 87 610 90 740
rect 60 600 90 610
rect 200 740 250 750
rect 200 610 210 740
rect 240 610 250 740
rect 200 520 250 610
rect 360 740 390 750
rect 360 610 363 740
rect 387 610 390 740
rect 360 600 390 610
rect 200 517 413 520
rect 200 480 366 517
rect 360 473 366 480
rect 407 473 413 517
rect 360 470 413 473
rect 250 290 350 300
rect 250 260 260 290
rect 340 260 350 290
rect 250 250 350 260
rect 430 150 460 1200
rect 480 1340 520 1380
rect 480 1100 490 1340
rect 510 1100 520 1340
rect 480 1090 520 1100
rect 10 140 90 150
rect 10 10 63 140
rect 87 10 90 140
rect 10 0 90 10
rect 360 140 460 150
rect 360 10 363 140
rect 387 10 460 140
rect 480 480 530 490
rect 480 120 490 480
rect 510 120 530 480
rect 480 100 530 120
rect 360 0 460 10
rect 250 -30 350 -20
rect 250 -50 260 -30
rect 340 -50 350 -30
rect 250 -70 350 -50
<< via1 >>
rect 361 750 387 900
rect 260 280 340 290
rect 260 260 340 280
<< metal2 >>
rect 358 900 390 903
rect 358 750 361 900
rect 387 750 390 900
rect 358 747 390 750
rect 250 290 350 300
rect 250 260 260 290
rect 340 260 350 290
rect 250 250 350 260
<< labels >>
flabel metal1 480 100 530 150 0 FreeSans 80 0 0 0 VSS
port 3 nsew ground default
flabel metal1 200 1380 250 1430 0 FreeSans 80 0 0 0 VDD
port 4 nsew
flabel poly 100 -70 200 -20 0 FreeSans 80 0 0 0 v1
port 1 nsew analog input
flabel metal1 250 -70 350 -20 0 FreeSans 80 0 0 0 v2
port 2 nsew analog input
flabel metal1 60 1090 90 1120 0 FreeSans 160 0 0 0 int2
flabel metal1 10 780 40 810 0 FreeSans 160 0 0 0 int4
flabel mvndiff 200 300 250 450 0 FreeSans 160 0 0 0 int5
flabel metal2 358 747 390 903 0 FreeSans 160 0 0 0 vout
port 6 nsew
flabel pwell 470 510 520 560 0 FreeSans 160 0 0 0 VSS
flabel metal2 250 250 350 300 0 FreeSans 80 0 0 0 vb
port 5 nsew analog input
flabel metal1 430 1090 460 1120 0 FreeSans 160 0 0 0 int3
flabel locali 50 170 100 220 0 FreeSans 160 0 0 0 int1
<< end >>
